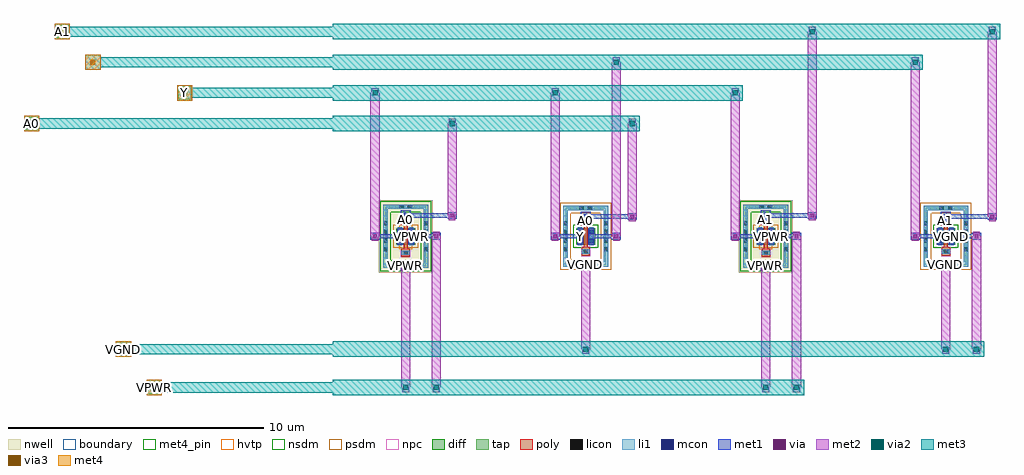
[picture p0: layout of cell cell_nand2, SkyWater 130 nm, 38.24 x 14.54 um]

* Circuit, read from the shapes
.subckt cell_nand2 A0 A1 N1 VGND VPWR Y
XM1 N1 A0 Y VGND sky130_fd_pr__nfet_01v8 w=0.65 l=0.15
XM2 VGND A1 N1 VGND sky130_fd_pr__nfet_01v8 w=0.65 l=0.15
XM3 VPWR A0 Y VPWR sky130_fd_pr__pfet_01v8_hvt w=0.65 l=0.15
XM4 VPWR A1 Y VPWR sky130_fd_pr__pfet_01v8_hvt w=0.65 l=0.15
.ends

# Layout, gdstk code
import gdstk
lib = gdstk.Library(unit=1e-6, precision=1e-09)
def R(c, l, rs):  # rectangles x0, y0, x1, y1
    for r in rs: c.add(gdstk.rectangle(r[:2], r[2:], *l))
def A(c, l, x, y, w, h, nx, ny, dx, dy):  # array of equal rectangles
    R(c, l, [(x+i*dx, y+j*dy, x+i*dx+w, y+j*dy+h) for i in range(nx) for j in range(ny)])
def P(c, l, *ps):  # polygons
    for p in ps: c.add(gdstk.Polygon(p, *l))
nwell = (64, 20)
diff = (65, 20)
tap = (65, 44)
poly = (66, 20)
licon = (66, 44)
li1 = (67, 20)
mcon = (67, 44)
met1 = (68, 20)
via = (68, 44)
met2 = (69, 20)
via2 = (69, 44)
met3 = (70, 20)
via3 = (70, 44)
met4_pin = (71, 16)
met4 = (71, 20)
hvtp = (78, 44)
nsdm = (93, 44)
psdm = (94, 20)
npc = (95, 20)
boundary = (235, 4)

cell_nand2 = lib.new_cell('cell_nand2')
R(cell_nand2, nwell, [(24.2,14.8,26.31,17.64), (38.31,14.8,40.42,17.64)])
A(cell_nand2, diff, 24.89, 15.895, 0.73, 0.65, 4, 1, 7.055, 0)
R(cell_nand2, tap, [(24.38,14.98,26.13,15.15), (38.49,14.98,40.24,15.15), (31.435,15.025,33.185,15.195), (45.545,15.025,47.295,15.195), (24.38,15.15,24.55,17.29), (25.96,15.15,26.13,17.29), (38.49,15.15,38.66,17.29), (40.07,15.15,40.24,17.29), (31.435,15.195,31.605,17.245), (33.015,15.195,33.185,17.245), (45.545,15.195,45.715,17.245), (47.125,15.195,47.295,17.245), (31.435,17.245,33.185,17.415), (45.545,17.245,47.295,17.415), (24.38,17.29,26.13,17.46), (38.49,17.29,40.24,17.46)])
R(cell_nand2, poly, [(25.09,15.41,25.42,15.74), (39.2,15.41,39.53,15.74), (32.145,15.455,32.475,15.785), (46.255,15.455,46.585,15.785), (25.18,15.74,25.33,16.7), (39.29,15.74,39.44,16.7), (32.235,15.785,32.385,16.655), (46.345,15.785,46.495,16.655), (32.145,16.655,32.475,16.985), (46.255,16.655,46.585,16.985), (25.09,16.7,25.42,17.03), (39.2,16.7,39.53,17.03)])
A(cell_nand2, licon, 24.38, 15.625, 0.17, 0.17, 1, 4, 0, 0.34)
A(cell_nand2, licon, 25.96, 15.625, 0.17, 0.17, 1, 4, 0, 0.34)
A(cell_nand2, licon, 31.435, 15.625, 0.17, 0.17, 1, 4, 0, 0.34)
A(cell_nand2, licon, 33.015, 15.625, 0.17, 0.17, 1, 4, 0, 0.34)
A(cell_nand2, licon, 38.49, 15.625, 0.17, 0.17, 1, 4, 0, 0.34)
A(cell_nand2, licon, 40.07, 15.625, 0.17, 0.17, 1, 4, 0, 0.34)
A(cell_nand2, licon, 45.545, 15.625, 0.17, 0.17, 1, 4, 0, 0.34)
A(cell_nand2, licon, 47.125, 15.625, 0.17, 0.17, 1, 4, 0, 0.34)
R(cell_nand2, licon, [(25,14.98,25.17,15.15), (25.34,14.98,25.51,15.15), (39.11,14.98,39.28,15.15), (39.45,14.98,39.62,15.15), (32.055,15.025,32.225,15.195), (32.395,15.025,32.565,15.195), (46.165,15.025,46.335,15.195), (46.505,15.025,46.675,15.195), (25.17,15.49,25.34,15.66), (39.28,15.49,39.45,15.66), (32.225,15.535,32.395,15.705), (46.335,15.535,46.505,15.705), (24.95,15.965,25.12,16.135), (25.39,15.965,25.56,16.135), (32.005,15.965,32.175,16.135), (32.445,15.965,32.615,16.135), (39.06,15.965,39.23,16.135), (39.5,15.965,39.67,16.135), (46.115,15.965,46.285,16.135), (46.555,15.965,46.725,16.135), (24.95,16.305,25.12,16.475), (25.39,16.305,25.56,16.475), (32.005,16.305,32.175,16.475), (32.445,16.305,32.615,16.475), (39.06,16.305,39.23,16.475), (39.5,16.305,39.67,16.475), (46.115,16.305,46.285,16.475), (46.555,16.305,46.725,16.475), (32.225,16.735,32.395,16.905), (46.335,16.735,46.505,16.905), (25.17,16.78,25.34,16.95), (39.28,16.78,39.45,16.95), (32.055,17.245,32.225,17.415), (32.395,17.245,32.565,17.415), (46.165,17.245,46.335,17.415), (46.505,17.245,46.675,17.415), (25,17.29,25.17,17.46), (25.34,17.29,25.51,17.46), (39.11,17.29,39.28,17.46), (39.45,17.29,39.62,17.46)])
R(cell_nand2, li1, [(24.38,14.98,26.13,15.15), (38.49,14.98,40.24,15.15), (31.435,15.025,33.185,15.195), (45.545,15.025,47.295,15.195), (24.38,15.15,24.55,17.29), (25.96,15.15,26.13,17.29), (38.49,15.15,38.66,17.29), (40.07,15.15,40.24,17.29), (31.435,15.195,31.605,17.245), (33.015,15.195,33.185,17.245), (45.545,15.195,45.715,17.245), (47.125,15.195,47.295,17.245), (25.09,15.49,25.42,15.66), (39.2,15.49,39.53,15.66), (32.145,15.535,32.475,15.705), (46.255,15.535,46.585,15.705), (24.95,15.875,25.12,16.565), (25.39,15.875,25.56,16.565), (32.005,15.875,32.175,16.565), (32.445,15.875,32.615,16.565), (39.06,15.875,39.23,16.565), (39.5,15.875,39.67,16.565), (46.115,15.875,46.285,16.565), (46.555,15.875,46.725,16.565), (32.145,16.735,32.475,16.905), (32.225,16.735,32.395,17.075), (46.255,16.735,46.585,16.905), (46.335,16.735,46.505,17.075), (25.09,16.78,25.42,16.95), (25.17,16.78,25.34,17.12), (39.2,16.78,39.53,16.95), (39.28,16.78,39.45,17.12), (31.435,17.245,33.185,17.415), (45.545,17.245,47.295,17.415), (24.38,17.29,26.13,17.46), (38.49,17.29,40.24,17.46)])
R(cell_nand2, mcon, [(25.17,14.98,25.34,15.15), (39.28,14.98,39.45,15.15), (32.225,15.025,32.395,15.195), (46.335,15.025,46.505,15.195), (24.95,15.955,25.12,16.125), (25.39,15.955,25.56,16.125), (32.005,15.955,32.175,16.125), (32.445,15.955,32.615,16.125), (39.06,15.955,39.23,16.125), (39.5,15.955,39.67,16.125), (46.115,15.955,46.285,16.125), (46.555,15.955,46.725,16.125), (24.95,16.315,25.12,16.485), (25.39,16.315,25.56,16.485), (32.005,16.315,32.175,16.485), (32.445,16.315,32.615,16.485), (39.06,16.315,39.23,16.485), (39.5,16.315,39.67,16.485), (46.115,16.315,46.285,16.485), (46.555,16.315,46.725,16.485), (32.225,16.905,32.395,17.075), (46.335,16.905,46.505,17.075), (25.17,16.95,25.34,17.12), (39.28,16.95,39.45,17.12)])
R(cell_nand2, met1, [(25.055,14.865,25.455,15.265), (39.165,14.865,39.565,15.265), (32.11,14.91,32.51,15.31), (46.22,14.91,46.62,15.31), (25.075,14.935,25.435,15.195), (39.185,14.935,39.545,15.195), (32.13,14.98,32.49,15.24), (46.24,14.98,46.6,15.24), (24.92,15.895,25.15,16.545), (25.36,15.895,25.59,16.545), (31.975,15.895,32.205,16.545), (32.415,15.895,32.645,16.545), (39.03,15.895,39.26,16.545), (39.47,15.895,39.7,16.545), (46.085,15.895,46.315,16.545), (46.525,15.895,46.755,16.545), (23.875,16.09,24.235,16.35), (26.275,16.09,26.635,16.35), (30.93,16.09,31.29,16.35), (33.33,16.09,33.69,16.35), (37.985,16.09,38.345,16.35), (40.385,16.09,40.745,16.35), (45.04,16.09,45.4,16.35), (47.44,16.09,47.8,16.35), (24.055,16.135,25.035,16.305), (25.475,16.135,26.455,16.305), (31.11,16.135,32.09,16.305), (32.53,16.135,33.51,16.305), (38.165,16.135,39.145,16.305), (39.585,16.135,40.565,16.305), (45.22,16.135,46.2,16.305), (46.64,16.135,47.62,16.305), (32.11,16.79,32.51,17.19), (46.22,16.79,46.62,17.19), (25.055,16.835,25.455,17.235), (39.165,16.835,39.565,17.235), (33.95,16.86,34.31,17.12), (48.06,16.86,48.42,17.12), (26.895,16.905,27.255,17.165), (32.31,16.905,34.13,17.075), (41.005,16.905,41.365,17.165), (46.42,16.905,48.24,17.075), (25.255,16.95,27.075,17.12), (39.365,16.95,41.185,17.12)])
P(cell_nand2, met1, [(25.255,14.98),(25.255,15.15),(25.255,15.15),(25.255,14.98)],
  [(39.365,14.98),(39.365,15.15),(39.365,15.15),(39.365,14.98)],
  [(46.42,15.025),(46.42,15.195),(46.42,15.195),(46.42,15.025)],
  [(32.31,15.025),(32.31,15.195),(32.31,15.195),(32.31,15.025)])
R(cell_nand2, via, [(25.18,14.99,25.33,15.14), (39.29,14.99,39.44,15.14), (32.235,15.035,32.385,15.185), (46.345,15.035,46.495,15.185), (23.98,16.145,24.13,16.295), (26.38,16.145,26.53,16.295), (31.035,16.145,31.185,16.295), (33.435,16.145,33.585,16.295), (38.09,16.145,38.24,16.295), (40.49,16.145,40.64,16.295), (45.145,16.145,45.295,16.295), (47.545,16.145,47.695,16.295), (34.055,16.915,34.205,17.065), (48.165,16.915,48.315,17.065), (27,16.96,27.15,17.11), (41.11,16.96,41.26,17.11)])
A(cell_nand2, met2, 23.875, 16.22, 0.36, 5.62, 3, 1, 7.055, 0)
A(cell_nand2, met2, 23.915, 21.65, 0.28, 0.38, 3, 1, 7.055, 0)
R(cell_nand2, met2, [(25.115,10.11,25.395,10.49), (26.315,10.11,26.595,10.49), (39.225,10.11,39.505,10.49), (40.425,10.11,40.705,10.49), (25.075,10.3,25.435,15.065), (26.275,10.3,26.635,16.22), (39.185,10.3,39.545,15.065), (40.385,10.3,40.745,16.22), (32.17,11.61,32.45,11.99), (46.28,11.61,46.56,11.99), (47.48,11.61,47.76,11.99), (32.13,11.8,32.49,15.11), (46.24,11.8,46.6,15.11), (47.44,11.8,47.8,16.22), (25.125,14.885,25.385,15.245), (39.235,14.885,39.495,15.245), (32.18,14.93,32.44,15.29), (46.29,14.93,46.55,15.29), (23.925,16.04,24.185,16.4), (26.325,16.04,26.585,16.4), (30.98,16.04,31.24,16.4), (33.38,16.04,33.64,16.4), (38.035,16.04,38.295,16.4), (40.435,16.04,40.695,16.4), (45.09,16.04,45.35,16.4), (47.49,16.04,47.75,16.4), (33.33,16.22,33.69,23.04), (45.04,16.22,45.4,23.04), (34,16.81,34.26,17.17), (48.11,16.81,48.37,17.17), (26.945,16.855,27.205,17.215), (41.055,16.855,41.315,17.215), (33.95,16.99,34.31,20.64), (48.06,16.99,48.42,24.24), (26.895,17.035,27.255,20.64), (41.005,17.035,41.365,24.24), (26.935,20.45,27.215,20.83), (33.99,20.45,34.27,20.83), (33.37,22.85,33.65,23.23), (45.08,22.85,45.36,23.23), (41.045,24.05,41.325,24.43), (48.1,24.05,48.38,24.43)])
A(cell_nand2, via2, 23.955, 21.74, 0.2, 0.2, 3, 1, 7.055, 0)
R(cell_nand2, via2, [(25.155,10.2,25.355,10.4), (26.355,10.2,26.555,10.4), (39.265,10.2,39.465,10.4), (40.465,10.2,40.665,10.4), (32.21,11.7,32.41,11.9), (46.32,11.7,46.52,11.9), (47.52,11.7,47.72,11.9), (26.975,20.54,27.175,20.74), (34.03,20.54,34.23,20.74), (33.41,22.94,33.61,23.14), (45.12,22.94,45.32,23.14), (41.085,24.14,41.285,24.34), (48.14,24.14,48.34,24.34)])
A(cell_nand2, met3, 23.805, 21.59, 0.5, 0.5, 3, 1, 7.055, 0)
R(cell_nand2, met3, [(15.1,10,15.7,10.6), (22.4,10,40.865,10.6), (25.005,10.05,25.505,10.55), (26.205,10.05,26.705,10.55), (39.115,10.05,39.615,10.55), (40.315,10.05,40.815,10.55), (13.9,11.5,14.5,12.1), (22.4,11.5,47.92,12.1), (32.06,11.55,32.56,12.05), (46.17,11.55,46.67,12.05), (47.37,11.55,47.87,12.05), (10.3,20.34,10.9,20.94), (22.4,20.34,34.43,20.94), (26.825,20.39,27.325,20.89), (33.88,20.39,34.38,20.89), (16.3,21.54,16.9,22.14), (22.4,21.54,38.465,22.14), (12.7,22.74,13.3,23.34), (22.4,22.74,45.52,23.34), (33.26,22.79,33.76,23.29), (44.97,22.79,45.47,23.29), (11.5,23.94,12.1,24.54), (22.4,23.94,48.54,24.54), (40.935,23.99,41.435,24.49), (47.99,23.99,48.49,24.49)])
R(cell_nand2, via3, [(15.3,10.2,15.5,10.4), (14.1,11.7,14.3,11.9), (10.5,20.54,10.7,20.74), (16.5,21.74,16.7,21.94), (12.9,22.94,13.1,23.14), (11.7,24.14,11.9,24.34)])
R(cell_nand2, met4_pin, [(15.15,10.05,15.65,10.55), (13.95,11.55,14.45,12.05), (10.35,20.39,10.85,20.89), (16.35,21.59,16.85,22.09), (11.55,23.99,12.05,24.49)])
R(cell_nand2, met4, [(15.1,10,15.7,10.6), (15.15,10,15.65,10.6), (13.9,11.5,14.5,12.1), (13.95,11.5,14.45,12.1), (10.3,20.34,10.9,20.94), (10.35,20.34,10.85,20.94), (16.3,21.54,16.9,22.14), (16.35,21.54,16.85,22.14), (12.7,22.74,13.3,23.34), (12.75,22.74,13.25,23.34), (11.5,23.94,12.1,24.54), (11.55,23.94,12.05,24.54)])
R(cell_nand2, hvtp, [(25,15.715,25.51,16.725), (39.11,15.715,39.62,16.725)])
R(cell_nand2, nsdm, [(24.255,14.855,26.255,15.275), (38.365,14.855,40.365,15.275), (24.255,15.275,24.675,17.165), (25.835,15.275,26.255,17.165), (38.365,15.275,38.785,17.165), (39.945,15.275,40.365,17.165), (31.82,15.77,32.8,16.67), (45.93,15.77,46.91,16.67), (24.255,17.165,26.255,17.585), (38.365,17.165,40.365,17.585)])
R(cell_nand2, psdm, [(31.31,14.9,33.31,15.32), (45.42,14.9,47.42,15.32), (31.31,15.32,31.73,17.12), (32.89,15.32,33.31,17.12), (45.42,15.32,45.84,17.12), (47,15.32,47.42,17.12), (24.765,15.77,25.745,16.67), (38.875,15.77,39.855,16.67), (31.31,17.12,33.31,17.54), (45.42,17.12,47.42,17.54)])
R(cell_nand2, npc, [(25.07,15.39,25.44,15.76), (39.18,15.39,39.55,15.76), (32.125,15.435,32.495,15.805), (46.235,15.435,46.605,15.805), (32.125,16.635,32.495,17.005), (46.235,16.635,46.605,17.005), (25.07,16.68,25.44,17.05), (39.18,16.68,39.55,17.05)])
R(cell_nand2, boundary, [(24.465,15.065,26.045,17.375), (38.575,15.065,40.155,17.375), (31.52,15.11,33.1,17.33), (45.63,15.11,47.21,17.33)])
cell_nand2.add(gdstk.FlexPath([(10.6,20.64),(22.4,20.64)], 0.4, ends="flush", simple_path=True, layer=70, datatype=20))  # met3
cell_nand2.add(gdstk.FlexPath([(11.8,24.24),(22.4,24.24)], 0.4, ends="flush", simple_path=True, layer=70, datatype=20))  # met3
cell_nand2.add(gdstk.FlexPath([(13,23.04),(22.4,23.04)], 0.4, ends="flush", simple_path=True, layer=70, datatype=20))  # met3
cell_nand2.add(gdstk.FlexPath([(16.6,21.84),(22.4,21.84)], 0.4, ends="flush", simple_path=True, layer=70, datatype=20))  # met3
cell_nand2.add(gdstk.FlexPath([(14.2,11.8),(22.4,11.8)], 0.4, ends="flush", simple_path=True, layer=70, datatype=20))  # met3
cell_nand2.add(gdstk.FlexPath([(15.4,10.3),(22.4,10.3)], 0.4, ends="flush", simple_path=True, layer=70, datatype=20))  # met3
cell_nand2.add(gdstk.Label('VPWR', (39.585,16.22), layer=67, texttype=5))
cell_nand2.add(gdstk.Label('A0', (25.255,16.865), layer=67, texttype=5))
cell_nand2.add(gdstk.Label('VPWR', (39.365,15.065), layer=67, texttype=5))
cell_nand2.add(gdstk.Label('A1', (46.42,16.82), layer=67, texttype=5))
cell_nand2.add(gdstk.Label('VGND', (46.64,16.22), layer=67, texttype=5))
cell_nand2.add(gdstk.Label('VGND', (32.31,15.11), layer=67, texttype=5))
cell_nand2.add(gdstk.Label('N1', (46.2,16.22), layer=67, texttype=5))
cell_nand2.add(gdstk.Label('VPWR', (25.475,16.22), layer=67, texttype=5))
cell_nand2.add(gdstk.Label('A1', (39.365,16.865), layer=67, texttype=5))
cell_nand2.add(gdstk.Label('Y', (32.09,16.22), layer=67, texttype=5))
cell_nand2.add(gdstk.Label('A0', (32.31,16.82), layer=67, texttype=5))
cell_nand2.add(gdstk.Label('VGND', (46.42,15.11), layer=67, texttype=5))
cell_nand2.add(gdstk.Label('VPWR', (25.255,15.065), layer=67, texttype=5))
cell_nand2.add(gdstk.Label('Y', (25.035,16.22), layer=67, texttype=5))
cell_nand2.add(gdstk.Label('Y', (39.145,16.22), layer=67, texttype=5))
cell_nand2.add(gdstk.Label('N1', (32.53,16.22), layer=67, texttype=5))
cell_nand2.add(gdstk.Label('A0', (10.6,20.64), layer=71, texttype=5))
cell_nand2.add(gdstk.Label('A1', (11.8,24.24), layer=71, texttype=5))
cell_nand2.add(gdstk.Label('Y', (16.6,21.84), layer=71, texttype=5))
cell_nand2.add(gdstk.Label('VGND', (14.2,11.8), layer=71, texttype=5))
cell_nand2.add(gdstk.Label('VPWR', (15.4,10.3), layer=71, texttype=5))

lib.write_gds('cell_nand2.gds')
